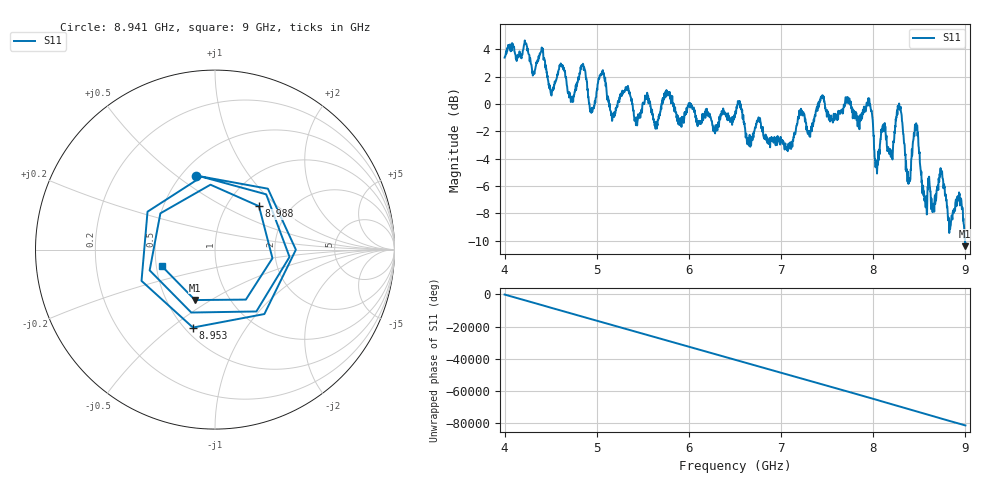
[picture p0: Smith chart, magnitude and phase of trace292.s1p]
! Created with skrf 1.8.0 (http://scikit-rf.org).
# Hz S RI R 50.0
!freq ReS11 ImS11
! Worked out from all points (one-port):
!   1601 points, 4 GHz to 9 GHz, reference 50 ohm
!   lowest |S11| = -10.4 dB at 8.997 GHz (marker M1), VSWR 1.87, Z = 34.6 - j21.4 ohm
!   |S11| at or under -10 dB: 8.995311 GHz to end of sweep
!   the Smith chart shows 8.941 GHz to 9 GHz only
!   S11 on the Smith chart (normalised r, x): 8.941 GHz: 0.59, +0.59; 8.953 GHz: 0.55, -0.60; 8.988 GHz: 1.40, +0.77; 9 GHz: 0.53, -0.11
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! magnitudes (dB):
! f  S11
! 4 GHz  3.4
! 4.406 GHz  3.9
! 4.509 GHz  0.6
! 4.625 GHz  2.8
! 4.725 GHz  0.5
! 4.853 GHz  2.9
! 4.947 GHz  -0.3
! 5.053 GHz  2.1
! 5.169 GHz  -1.2
! 5.25 GHz  0.4
! 5.875 GHz  -0.8
! 6.5 GHz  -0.7
! 7.125 GHz  -2.7
! 7.441 GHz  0.6
! 7.75 GHz  -0.1
! 7.966 GHz  0.0
! 8.034 GHz  -4.4
! 8.109 GHz  -1.5
! 8.2 GHz  -3.8
! 8.284 GHz  -0.3
! 8.375 GHz  -4.9
! 8.462 GHz  -1.6
! 8.559 GHz  -6.9
! 8.941 GHz  -7.4
! 8.953 GHz  -6.9
! 8.988 GHz  -9.3
! 8.997 GHz  -10.4
! 9 GHz  -10.1
